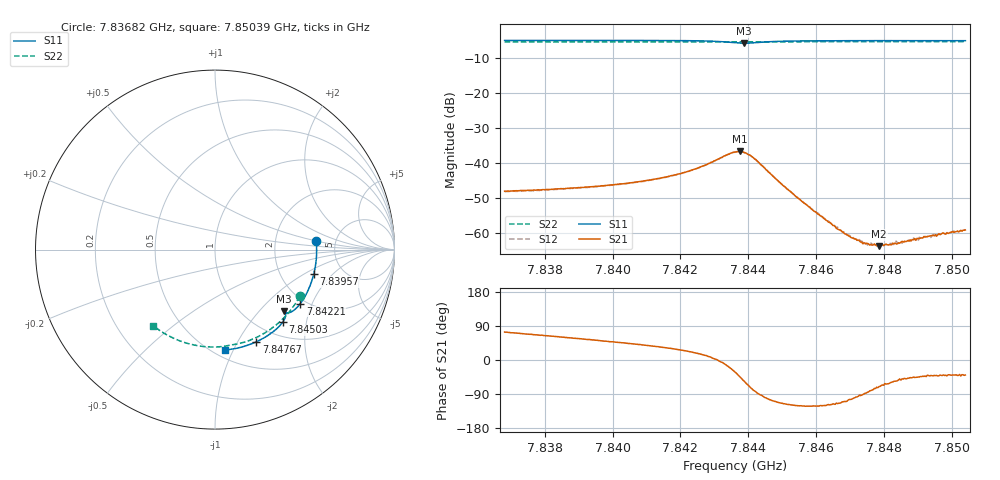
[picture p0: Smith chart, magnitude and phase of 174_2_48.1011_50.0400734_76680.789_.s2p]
#  HZ  S  RI  R  50.00
! Rohde & Schwarz Vector Network Analyzer
! Rohde-Schwarz,ZNB20-2Port,1311601062101988,3.16
! Created: UTC 12/23/2023, 3:52:05 AM
! freq[Hz]  re:S11  im:S11  re:S21  im:S21  re:S12  im:S12  re:S22  im:S22
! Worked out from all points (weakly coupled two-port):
!   401 points, 7.83682 GHz to 7.85039 GHz, reference 50 ohm
!   highest |S21| = -36.72 dB at 7.84374 GHz (marker M1); lowest = -63.8 dB at 7.84784 GHz (marker M2)
!   lowest |S11| = -5.7 dB at 7.84388 GHz (marker M3), VSWR 3.14, Z = 73.9 - j69.4 ohm
!   |S11| at or under -10 dB: nowhere
!   |S22| runs from -5.4 to -5.3 dB; largest |S21 - S12| = 0.00029
!   S11 on the Smith chart (normalised r, x): 7.83682 GHz: 3.53, +0.50; 7.83957 GHz: 3.09, -1.22; 7.84221 GHz: 1.87, -1.65; 7.84503 GHz: 1.25, -1.47; 7.84767 GHz: 0.80, -1.20; 7.85039 GHz: 0.57, -0.93
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7.836822e9  0.5641 0.0477  0.00111 0.00378  0.00114 0.00372  0.4732 -0.2592
7.839094e9  0.5573 -0.1032  0.00252 0.00369  0.0025 0.00364  0.3777 -0.3862
7.839569e9  0.5507 -0.1344  0.00288 0.00365  0.00284 0.00357  0.3535 -0.4088
7.840518e9  0.5317 -0.1957  0.00376 0.00355  0.00374 0.00356  0.3007 -0.4494
7.841366e9  0.5078 -0.2491  0.00493 0.00341  0.0049 0.00343  0.2496 -0.4801
7.842214e9  0.4757 -0.3005  0.00696 0.00297  0.00691 0.00295  0.1953 -0.5047
7.843096e9  0.4259 -0.3466  0.0113 -0.000112  0.0112 -0.000209  0.1361 -0.523
7.843605e9  0.3905 -0.3509  0.0121 -0.00753  0.012 -0.0075  0.1021 -0.5293
7.84374e9  0.386 -0.3471  0.0106 -0.0101  0.0106 -0.00992  0.0933 -0.5306
7.843876e9  0.3859 -0.3441  0.00789 -0.0116  0.00791 -0.0116  0.085 -0.5323
7.844079e9  0.3904 -0.3459  0.00339 -0.0121  0.00345 -0.0121  0.0719 -0.5347
7.844215e9  0.3933 -0.3519  0.00126 -0.0111  0.00131 -0.0111  0.063 -0.5365
7.845029e9  0.3765 -0.4053  -0.00201 -0.00425  -0.00201 -0.0043  0.00622 -0.5426
7.845877e9  0.3345 -0.4491  -0.00113 -0.00182  -0.00114 -0.00185  -0.0535 -0.5408
7.846725e9  0.2869 -0.4835  -0.000423 -0.000996  -0.000427 -0.000988  -0.1125 -0.5324
7.846962e9  0.273 -0.4917  -0.000222 -0.000866  -0.000246 -0.000891  -0.1289 -0.5289
7.847437e9  0.2446 -0.5068  2.67e-05 -0.000703  1.07e-05 -0.00069  -0.1611 -0.5202
7.847674e9  0.2301 -0.5136  0.00014 -0.000658  0.000148 -0.000658  -0.177 -0.5153
7.847844e9  0.2198 -0.5182  0.000217 -0.000606  0.000241 -0.000613  -0.1883 -0.5111
7.848149e9  0.2009 -0.5259  0.000322 -0.000596  0.000332 -0.000612  -0.2083 -0.5037
7.849675e9  0.1028 -0.5532  0.000729 -0.000624  0.000731 -0.000639  -0.3029 -0.4541
7.850387e9  0.056 -0.5597  0.000843 -0.000699  0.000845 -0.000713  -0.3433 -0.4248
